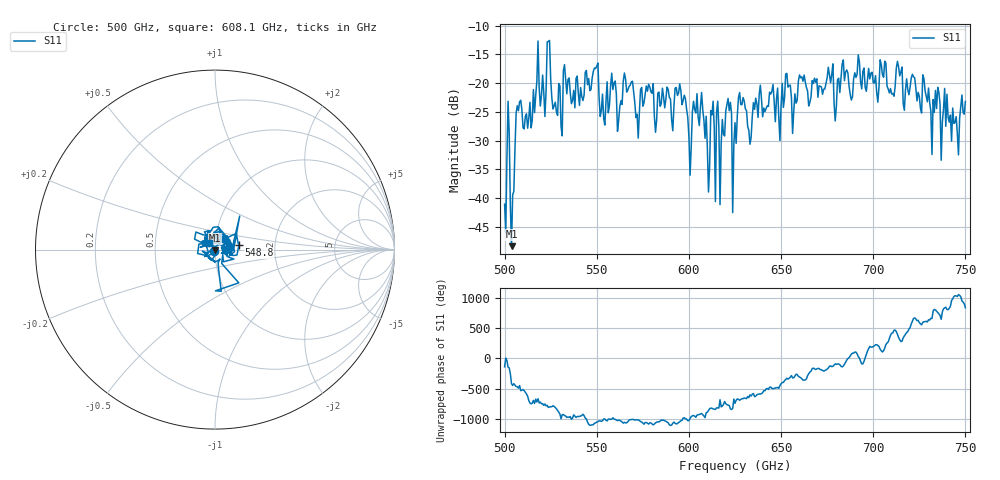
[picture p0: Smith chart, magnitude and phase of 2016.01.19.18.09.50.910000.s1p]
!Created with skrf (http://scikit-rf.org).
# GHz S RI R 50.0
!freq ReS11 ImS11
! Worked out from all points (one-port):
!   401 points, 500 GHz to 750 GHz, reference 50 ohm
!   lowest |S11| = -48.3 dB at 503.8 GHz (marker M1), VSWR 1.01, Z = 50.2 - j0.326 ohm
!   |S11| at or under -10 dB: start of sweep to end of sweep
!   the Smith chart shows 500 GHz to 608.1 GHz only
!   S11 on the Smith chart (normalised r, x): 500 GHz: 0.99, -0.01; 548.8 GHz: 1.31, +0.06; 608.1 GHz: 0.94, +0.07
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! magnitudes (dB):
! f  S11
! 500 GHz  -41.0
! 501.2 GHz  -33.1
! 503.8 GHz  -48.3
! 507.5 GHz  -24.8
! 513.8 GHz  -23.3
! 523.8 GHz  -12.8
! 527.5 GHz  -23.3
! 531.2 GHz  -29.2
! 548.8 GHz  -17.4
! 553.1 GHz  -21.9
! 558.8 GHz  -21.1
! 562.5 GHz  -24.1
! 565.6 GHz  -19.3
! 571.9 GHz  -25.4
! 593.8 GHz  -22.1
! 600 GHz  -29.3
! 608.1 GHz  -26.4
! 610 GHz  -31.2
! 612.5 GHz  -25.5
! 615.6 GHz  -23.1
! 621.9 GHz  -24.8
! 625 GHz  -26.9
! 628.1 GHz  -23.7
! 633.1 GHz  -30.6
! 656.2 GHz  -28.8
! 687.5 GHz  -22.0
! 718.8 GHz  -21.1
! 750 GHz  -23.2
